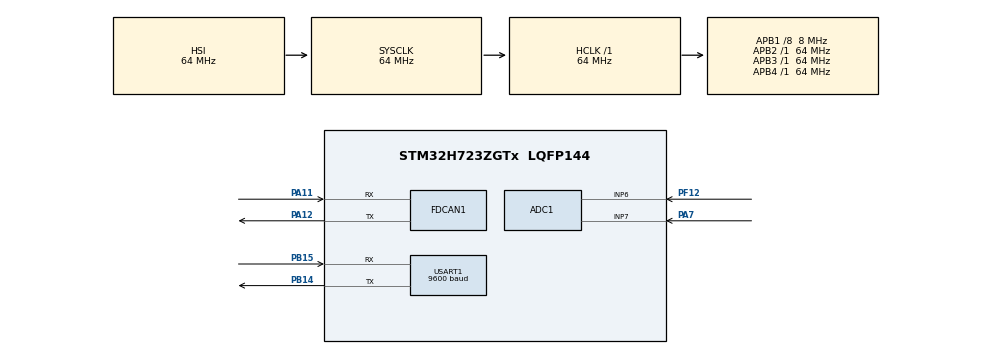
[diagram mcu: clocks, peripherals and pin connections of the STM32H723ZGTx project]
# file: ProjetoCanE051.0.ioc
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ADC1.Channel-0\#ChannelRegularConversion=ADC_CHANNEL_6
ADC1.Channel-1\#ChannelRegularConversion=ADC_CHANNEL_7
ADC1.ClockPrescaler=ADC_CLOCK_ASYNC_DIV10
ADC1.ContinuousConvMode=ENABLE
ADC1.NbrOfConversion=2
ADC1.NbrOfConversionFlag=1
ADC1.OffsetNumber-0\#ChannelRegularConversion=ADC_OFFSET_NONE
ADC1.OffsetNumber-1\#ChannelRegularConversion=ADC_OFFSET_NONE
ADC1.OffsetSignedSaturation-0\#ChannelRegularConversion=DISABLE
ADC1.OffsetSignedSaturation-1\#ChannelRegularConversion=DISABLE
ADC1.Overrun=ADC_OVR_DATA_OVERWRITTEN
ADC1.Rank-0\#ChannelRegularConversion=1
ADC1.Rank-1\#ChannelRegularConversion=2
ADC1.SamplingTime-0\#ChannelRegularConversion=ADC_SAMPLETIME_2CYCLES_5
ADC1.SamplingTime-1\#ChannelRegularConversion=ADC_SAMPLETIME_2CYCLES_5
ADC1.master=1
FDCAN1.AutoRetransmission=ENABLE
FDCAN1.CalculateBaudRateNominal=250000
FDCAN1.CalculateTimeBitNominal=4000
FDCAN1.CalculateTimeQuantumNominal=62.5
FDCAN1.DataSyncJumpWidth=15
FDCAN1.DataTimeSeg1=16
FDCAN1.DataTimeSeg2=15
FDCAN1.NominalPrescaler=1
FDCAN1.NominalSyncJumpWidth=2
FDCAN1.NominalTimeSeg1=61
Mcu.Family=STM32H7
Mcu.Name=STM32H723ZGTx
Mcu.Package=LQFP144
NVIC.ADC_IRQn=true\:0\:0\:false\:false\:true\:true\:true\:true
NVIC.FDCAN1_IT0_IRQn=true\:0\:0\:false\:false\:true\:true\:true\:true
NVIC.PriorityGroup=NVIC_PRIORITYGROUP_4
PA11.Mode=FDCAN_Activate
PA11.Signal=FDCAN1_RX
PA12.Mode=FDCAN_Activate
PA12.Signal=FDCAN1_TX
PA13(JTMS/SWDIO).Mode=Serial_Wire
PA13(JTMS/SWDIO).Signal=DEBUG_JTMS-SWDIO
PA14(JTCK/SWCLK).Mode=Serial_Wire
PA14(JTCK/SWCLK).Signal=DEBUG_JTCK-SWCLK
PA7.Signal=ADCx_INP7
PB14.Mode=Asynchronous
PB14.Signal=USART1_TX
PB15.Mode=Asynchronous
PB15.Signal=USART1_RX
PC14-OSC32_IN.Mode=LSE-External-Oscillator
PC14-OSC32_IN.Signal=RCC_OSC32_IN
PC15-OSC32_OUT.Mode=LSE-External-Oscillator
PC15-OSC32_OUT.Signal=RCC_OSC32_OUT
PF12.Mode=IN6-Single-Ended
PF12.Signal=ADC1_INP6
PH0-OSC_IN.Mode=HSE-External-Oscillator
PH0-OSC_IN.Signal=RCC_OSC_IN
PH1-OSC_OUT.Mode=HSE-External-Oscillator
PH1-OSC_OUT.Signal=RCC_OSC_OUT
ProjectManager.HeapSize=0x200
ProjectManager.StackSize=0x400
ProjectManager.TargetToolchain=STM32CubeIDE
RCC.ADCFreq_Value=38400000
RCC.APB1Freq_Value=8000000
RCC.APB2Freq_Value=64000000
RCC.APB3Freq_Value=64000000
RCC.APB4Freq_Value=64000000
RCC.CortexFreq_Value=64000000
RCC.D2PPRE1=RCC_APB1_DIV8
RCC.DIVM1=4
RCC.DIVM2=4
RCC.DIVN1=12
RCC.DIVN2=12
RCC.DIVP2=5
RCC.DIVQ1=12
RCC.HCLKFreq_Value=64000000
RCC.PLL2FRACN=0
RCC.PLLFRACN=0
RCC.SYSCLKFreq_VALUE=64000000
RCC.USART16CLockSelection=RCC_USART16910CLKSOURCE_CSI
RCC.USBFreq_Value=16000000
SH.ADCx_INP7.0=ADC1_INP7,IN7-Single-Ended
TIM2.AutoReloadPreload=TIM_AUTORELOAD_PRELOAD_ENABLE
TIM2.Period=5200
TIM2.Prescaler=16000
USART1.BaudRate=9600
USART1.VirtualMode-Asynchronous=VM_ASYNC
VP_TIM2_VS_ClockSourceINT.Mode=Internal
board=custom

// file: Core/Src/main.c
/* USER CODE BEGIN Header */
/**
  ******************************************************************************
  * @file           : main.c
  * @brief          : Main program body
  ******************************************************************************
  * @attention
  *
  * Copyright (c) 2024 STMicroelectronics.
  * All rights reserved.
  *
  * This software is licensed under terms that can be found in the LICENSE file
  * in the root directory of this software component.
  * If no LICENSE file comes with this software, it is provided AS-IS.
  *
  ******************************************************************************
  */
/* USER CODE END Header */
#include "main.h"

ADC_HandleTypeDef hadc1;

FDCAN_HandleTypeDef hfdcan1;

TIM_HandleTypeDef htim2;

UART_HandleTypeDef huart1;

/* USER CODE BEGIN PV */
FDCAN_TxHeaderTypeDef TxHeader;//renomeando a struct do Tx de TxHeader
FDCAN_RxHeaderTypeDef RxHeader;//renomeando a struct do Rx de RxHeader
uint32_t TxMailbox;
uint8_t TxData[8]; //foi declarado do começo que estamos testando com 8 bits
uint8_t RxData[8]; //por isso os dados tem que ter 8 de tamanho de array
uint8_t RxUart[10]; //Buffer para o Rx do Uart
uint8_t TxUart[10]; //Buffer para o Tx do Uart
typedef struct {
    uint16_t PotLin;
    uint16_t PotLog;
} PotReads;
uint16_t dif = 0;

/* USER CODE END PV */

void SystemClock_Config(void);
static void MX_GPIO_Init(void);
static void MX_ADC1_Init(void);
static void MX_FDCAN1_Init(void);
static void MX_TIM2_Init(void);
static void MX_USART1_UART_Init(void);

/* USER CODE BEGIN 0 */
//Interrupçoes do codigo

//Funçoes baseadas nas interrupcoes
void HAL_TIM_PeriodElapsedCallback(TIM_HandleTypeDef *htim) {
  if (htim->Instance == TIM2) {
    // A cada 5 ms, essa função eh chamada
	  HAL_UART_Transmit(&huart1, TxUart, sizeof(TxUart), 1000);
  }
}

void HAL_FDCAN_RxFifo0Callback(FDCAN_HandleTypeDef *hfdcan1 , uint32_t RxFifo0ITs){
	if ((RxFifo0ITs & FDCAN_IT_RX_FIFO0_NEW_MESSAGE) != RESET) {
	    //Flag de interrupt, caso tenha mensagem nova e tenha uma nova msg, entra na condicao
	    // Recebendo a mensagem do FIFO 0
	    if (HAL_FDCAN_GetRxMessage(hfdcan1, FDCAN_RX_FIFO0, &RxHeader, RxData) != HAL_OK) {
	      Error_Handler();
	    }
	    // Processando a mensagem recebida

	  }
}
//Fim das funcoes baseadas nas interrupcoes

PotReads Read_ADC_Values(void)
{
	PotReads pot;
    // Leitura do Canal 1
	ADC_ChannelConfTypeDef sConfig = {0};
	sConfig.Channel = ADC_CHANNEL_6;
    HAL_ADC_ConfigChannel(&hadc1, &sConfig);
    HAL_ADC_Start(&hadc1);
    HAL_ADC_PollForConversion(&hadc1, 1000); //lendo o valor dos potenciometros
	pot.PotLog = HAL_ADC_GetValue(&hadc1);
    HAL_ADC_Stop(&hadc1);

    // Leitura do Canal 2
	sConfig.Channel = ADC_CHANNEL_7;
    HAL_ADC_ConfigChannel(&hadc1, &sConfig);
    HAL_ADC_Start(&hadc1);
    HAL_ADC_PollForConversion(&hadc1, 1000);
    pot.PotLin = HAL_ADC_GetValue(&hadc1); //lendo o valor dos potenciometros
    HAL_ADC_Stop(&hadc1);
    dif = pot.PotLin - pot.PotLog;
    if(pot.PotLin > pot.PotLog*0.9 || pot.PotLin < pot.PotLog*1.1){
    	dif = 0;
    }
    return pot;
}

/* USER CODE END 0 */

int main(void)
{

  /* MCU Configuration--------------------------------------------------------*/

  /* Reset of all peripherals, Initializes the Flash interface and the Systick. */
  HAL_Init();

  /* Configure the system clock */
  SystemClock_Config();

  /* Initialize all configured peripherals */
  MX_GPIO_Init();
  MX_ADC1_Init();
  MX_FDCAN1_Init();
  MX_TIM2_Init();
  MX_USART1_UART_Init();
  /* USER CODE BEGIN 2 */

  HAL_TIM_Base_Start_IT(&htim2); //iniciando o tmr2 para interrupcao do LoRa

  if(HAL_FDCAN_Start(&hfdcan1) != HAL_OK){

     	  Error_Handler();
       }

if(HAL_FDCAN_ActivateNotification(&hfdcan1, FDCAN_IT_RX_FIFO0_NEW_MESSAGE, 0)!= HAL_OK){
     	  Error_Handler();

   }

// Configurando os parâmetros da mensagem
 	 TxHeader.Identifier = 0x10; // Identificador da mensagem
	 TxHeader.IdType = FDCAN_STANDARD_ID; // Tipo de identificador: Padrão
	 TxHeader.TxFrameType = FDCAN_DATA_FRAME; // Tipo de quadro: Quadro de dados
	 TxHeader.DataLength = FDCAN_DLC_BYTES_8; // Comprimento dos dados: 8 bytes
	 TxHeader.ErrorStateIndicator = FDCAN_ESI_ACTIVE; // Indicador de estado de erro ativo
	 TxHeader.BitRateSwitch = FDCAN_BRS_OFF; // Troca de taxa de bits desativada
	 TxHeader.FDFormat = FDCAN_CLASSIC_CAN; // Formato CAN clasica
	 TxHeader.TxEventFifoControl = FDCAN_STORE_TX_EVENTS; // Sem controle de FIFO de evento de transmissão
	 TxHeader.MessageMarker = 0; // Marcador de mensagem
  /* USER CODE END 2 */

  /* Infinite loop */
  /* USER CODE BEGIN WHILE */
  while (1)
  {
	  HAL_ADC_Start(&hadc1);
	  PotReads pots = Read_ADC_Values();
		TxData[0] = pots.PotLin & 0xFF;
		TxData[1] = (pots.PotLin >>8) & 0xFF;
		TxData[2] = pots.PotLog & 0xFF;
		TxData[3] = (pots.PotLog >>8) & 0xFF;
		TxData[4] = dif & 0xFF;
		TxData[5] = (dif >>8) & 0xFF;
		HAL_FDCAN_AddMessageToTxFifoQ(&hfdcan1, &TxHeader, TxData);
		HAL_UART_Receive(&huart1, RxUart, sizeof(RxUart), 1000);  //buffer sera transmitido
		//LoRa_ReceiveData()
    /* USER CODE END WHILE */

  }
}

void SystemClock_Config(void)
{
  RCC_OscInitTypeDef RCC_OscInitStruct = {0};
  RCC_ClkInitTypeDef RCC_ClkInitStruct = {0};

  /** Supply configuration update enable
  */
  HAL_PWREx_ConfigSupply(PWR_LDO_SUPPLY);

  /** Configure the main internal regulator output voltage
  */
  __HAL_PWR_VOLTAGESCALING_CONFIG(PWR_REGULATOR_VOLTAGE_SCALE3);

  while(!__HAL_PWR_GET_FLAG(PWR_FLAG_VOSRDY)) {}

  /** Initializes the RCC Oscillators according to the specified parameters
  * in the RCC_OscInitTypeDef structure.
  */
  RCC_OscInitStruct.OscillatorType = RCC_OSCILLATORTYPE_CSI|RCC_OSCILLATORTYPE_HSI;
  RCC_OscInitStruct.HSIState = RCC_HSI_DIV1;
  RCC_OscInitStruct.HSICalibrationValue = 64;
  RCC_OscInitStruct.CSIState = RCC_CSI_ON;
  RCC_OscInitStruct.CSICalibrationValue = 16;
  RCC_OscInitStruct.PLL.PLLState = RCC_PLL_ON;
  RCC_OscInitStruct.PLL.PLLSource = RCC_PLLSOURCE_HSI;
  RCC_OscInitStruct.PLL.PLLM = 4;
  RCC_OscInitStruct.PLL.PLLN = 12;
  RCC_OscInitStruct.PLL.PLLP = 2;
  RCC_OscInitStruct.PLL.PLLQ = 12;
  RCC_OscInitStruct.PLL.PLLR = 2;
  RCC_OscInitStruct.PLL.PLLRGE = RCC_PLL1VCIRANGE_3;
  RCC_OscInitStruct.PLL.PLLVCOSEL = RCC_PLL1VCOWIDE;
  RCC_OscInitStruct.PLL.PLLFRACN = 0;
  if (HAL_RCC_OscConfig(&RCC_OscInitStruct) != HAL_OK)
  {
    Error_Handler();
  }

  /** Initializes the CPU, AHB and APB buses clocks
  */
  RCC_ClkInitStruct.ClockType = RCC_CLOCKTYPE_HCLK|RCC_CLOCKTYPE_SYSCLK
                              |RCC_CLOCKTYPE_PCLK1|RCC_CLOCKTYPE_PCLK2
                              |RCC_CLOCKTYPE_D3PCLK1|RCC_CLOCKTYPE_D1PCLK1;
  RCC_ClkInitStruct.SYSCLKSource = RCC_SYSCLKSOURCE_HSI;
  RCC_ClkInitStruct.SYSCLKDivider = RCC_SYSCLK_DIV1;
  RCC_ClkInitStruct.AHBCLKDivider = RCC_HCLK_DIV1;
  RCC_ClkInitStruct.APB3CLKDivider = RCC_APB3_DIV1;
  RCC_ClkInitStruct.APB1CLKDivider = RCC_APB1_DIV8;
  RCC_ClkInitStruct.APB2CLKDivider = RCC_APB2_DIV1;
  RCC_ClkInitStruct.APB4CLKDivider = RCC_APB4_DIV1;

  if (HAL_RCC_ClockConfig(&RCC_ClkInitStruct, FLASH_LATENCY_1) != HAL_OK)
  {
    Error_Handler();
  }
}

static void MX_ADC1_Init(void)
{

  ADC_MultiModeTypeDef multimode = {0};
  ADC_ChannelConfTypeDef sConfig = {0};

  /** Common config
  */
  hadc1.Instance = ADC1;
  hadc1.Init.ClockPrescaler = ADC_CLOCK_ASYNC_DIV10;
  hadc1.Init.Resolution = ADC_RESOLUTION_16B;
  hadc1.Init.ScanConvMode = ADC_SCAN_ENABLE;
  hadc1.Init.EOCSelection = ADC_EOC_SINGLE_CONV;
  hadc1.Init.LowPowerAutoWait = DISABLE;
  hadc1.Init.ContinuousConvMode = ENABLE;
  hadc1.Init.NbrOfConversion = 2;
  hadc1.Init.DiscontinuousConvMode = DISABLE;
  hadc1.Init.ExternalTrigConv = ADC_SOFTWARE_START;
  hadc1.Init.ExternalTrigConvEdge = ADC_EXTERNALTRIGCONVEDGE_NONE;
  hadc1.Init.ConversionDataManagement = ADC_CONVERSIONDATA_DR;
  hadc1.Init.Overrun = ADC_OVR_DATA_OVERWRITTEN;
  hadc1.Init.LeftBitShift = ADC_LEFTBITSHIFT_NONE;
  hadc1.Init.OversamplingMode = DISABLE;
  if (HAL_ADC_Init(&hadc1) != HAL_OK)
  {
    Error_Handler();
  }

  /** Configure the ADC multi-mode
  */
  multimode.Mode = ADC_MODE_INDEPENDENT;
  if (HAL_ADCEx_MultiModeConfigChannel(&hadc1, &multimode) != HAL_OK)
  {
    Error_Handler();
  }

  /** Configure Regular Channel
  */
  sConfig.Channel = ADC_CHANNEL_6;
  sConfig.Rank = ADC_REGULAR_RANK_1;
  sConfig.SamplingTime = ADC_SAMPLETIME_2CYCLES_5;
  sConfig.SingleDiff = ADC_SINGLE_ENDED;
  sConfig.OffsetNumber = ADC_OFFSET_NONE;
  sConfig.Offset = 0;
  sConfig.OffsetSignedSaturation = DISABLE;
  if (HAL_ADC_ConfigChannel(&hadc1, &sConfig) != HAL_OK)
  {
    Error_Handler();
  }

  /** Configure Regular Channel
  */
  sConfig.Channel = ADC_CHANNEL_7;
  sConfig.Rank = ADC_REGULAR_RANK_2;
  if (HAL_ADC_ConfigChannel(&hadc1, &sConfig) != HAL_OK)
  {
    Error_Handler();
  }

}

static void MX_FDCAN1_Init(void)
{

  hfdcan1.Instance = FDCAN1;
  hfdcan1.Init.FrameFormat = FDCAN_FRAME_CLASSIC;
  hfdcan1.Init.Mode = FDCAN_MODE_NORMAL;
  hfdcan1.Init.AutoRetransmission = ENABLE;
  hfdcan1.Init.TransmitPause = DISABLE;
  hfdcan1.Init.ProtocolException = DISABLE;
  hfdcan1.Init.NominalPrescaler = 1;
  hfdcan1.Init.NominalSyncJumpWidth = 2;
  hfdcan1.Init.NominalTimeSeg1 = 61;
  hfdcan1.Init.NominalTimeSeg2 = 2;
  hfdcan1.Init.DataPrescaler = 1;
  hfdcan1.Init.DataSyncJumpWidth = 15;
  hfdcan1.Init.DataTimeSeg1 = 16;
  hfdcan1.Init.DataTimeSeg2 = 15;
  hfdcan1.Init.MessageRAMOffset = 0;
  hfdcan1.Init.StdFiltersNbr = 0;
  hfdcan1.Init.ExtFiltersNbr = 0;
  hfdcan1.Init.RxFifo0ElmtsNbr = 0;
  hfdcan1.Init.RxFifo0ElmtSize = FDCAN_DATA_BYTES_8;
  hfdcan1.Init.RxFifo1ElmtsNbr = 0;
  hfdcan1.Init.RxFifo1ElmtSize = FDCAN_DATA_BYTES_8;
  hfdcan1.Init.RxBuffersNbr = 0;
  hfdcan1.Init.RxBufferSize = FDCAN_DATA_BYTES_8;
  hfdcan1.Init.TxEventsNbr = 0;
  hfdcan1.Init.TxBuffersNbr = 0;
  hfdcan1.Init.TxFifoQueueElmtsNbr = 0;
  hfdcan1.Init.TxFifoQueueMode = FDCAN_TX_FIFO_OPERATION;
  hfdcan1.Init.TxElmtSize = FDCAN_DATA_BYTES_8;
  if (HAL_FDCAN_Init(&hfdcan1) != HAL_OK)
  {
    Error_Handler();
  }

}

static void MX_TIM2_Init(void)
{

  TIM_ClockConfigTypeDef sClockSourceConfig = {0};
  TIM_MasterConfigTypeDef sMasterConfig = {0};

  htim2.Instance = TIM2;
  htim2.Init.Prescaler = 16000;
  htim2.Init.CounterMode = TIM_COUNTERMODE_UP;
  htim2.Init.Period = 5200;
  htim2.Init.ClockDivision = TIM_CLOCKDIVISION_DIV1;
  htim2.Init.AutoReloadPreload = TIM_AUTORELOAD_PRELOAD_ENABLE;
  if (HAL_TIM_Base_Init(&htim2) != HAL_OK)
  {
    Error_Handler();
  }
  sClockSourceConfig.ClockSource = TIM_CLOCKSOURCE_INTERNAL;
  if (HAL_TIM_ConfigClockSource(&htim2, &sClockSourceConfig) != HAL_OK)
  {
    Error_Handler();
  }
  sMasterConfig.MasterOutputTrigger = TIM_TRGO_RESET;
  sMasterConfig.MasterSlaveMode = TIM_MASTERSLAVEMODE_DISABLE;
  if (HAL_TIMEx_MasterConfigSynchronization(&htim2, &sMasterConfig) != HAL_OK)
  {
    Error_Handler();
  }

}

static void MX_USART1_UART_Init(void)
{

  huart1.Instance = USART1;
  huart1.Init.BaudRate = 9600;
  huart1.Init.WordLength = UART_WORDLENGTH_8B;
  huart1.Init.StopBits = UART_STOPBITS_1;
  huart1.Init.Parity = UART_PARITY_NONE;
  huart1.Init.Mode = UART_MODE_TX_RX;
  huart1.Init.HwFlowCtl = UART_HWCONTROL_NONE;
  huart1.Init.OverSampling = UART_OVERSAMPLING_16;
  huart1.Init.OneBitSampling = UART_ONE_BIT_SAMPLE_DISABLE;
  huart1.Init.ClockPrescaler = UART_PRESCALER_DIV1;
  huart1.AdvancedInit.AdvFeatureInit = UART_ADVFEATURE_NO_INIT;
  if (HAL_UART_Init(&huart1) != HAL_OK)
  {
    Error_Handler();
  }
  if (HAL_UARTEx_SetTxFifoThreshold(&huart1, UART_TXFIFO_THRESHOLD_1_8) != HAL_OK)
  {
    Error_Handler();
  }
  if (HAL_UARTEx_SetRxFifoThreshold(&huart1, UART_RXFIFO_THRESHOLD_1_8) != HAL_OK)
  {
    Error_Handler();
  }
  if (HAL_UARTEx_DisableFifoMode(&huart1) != HAL_OK)
  {
    Error_Handler();
  }

}

static void MX_GPIO_Init(void)
{

  /* GPIO Ports Clock Enable */
  __HAL_RCC_GPIOC_CLK_ENABLE();
  __HAL_RCC_GPIOH_CLK_ENABLE();
  __HAL_RCC_GPIOA_CLK_ENABLE();
  __HAL_RCC_GPIOF_CLK_ENABLE();
  __HAL_RCC_GPIOB_CLK_ENABLE();

}

void Error_Handler(void)
{
  __disable_irq();
  while (1)
  {
  }
}
